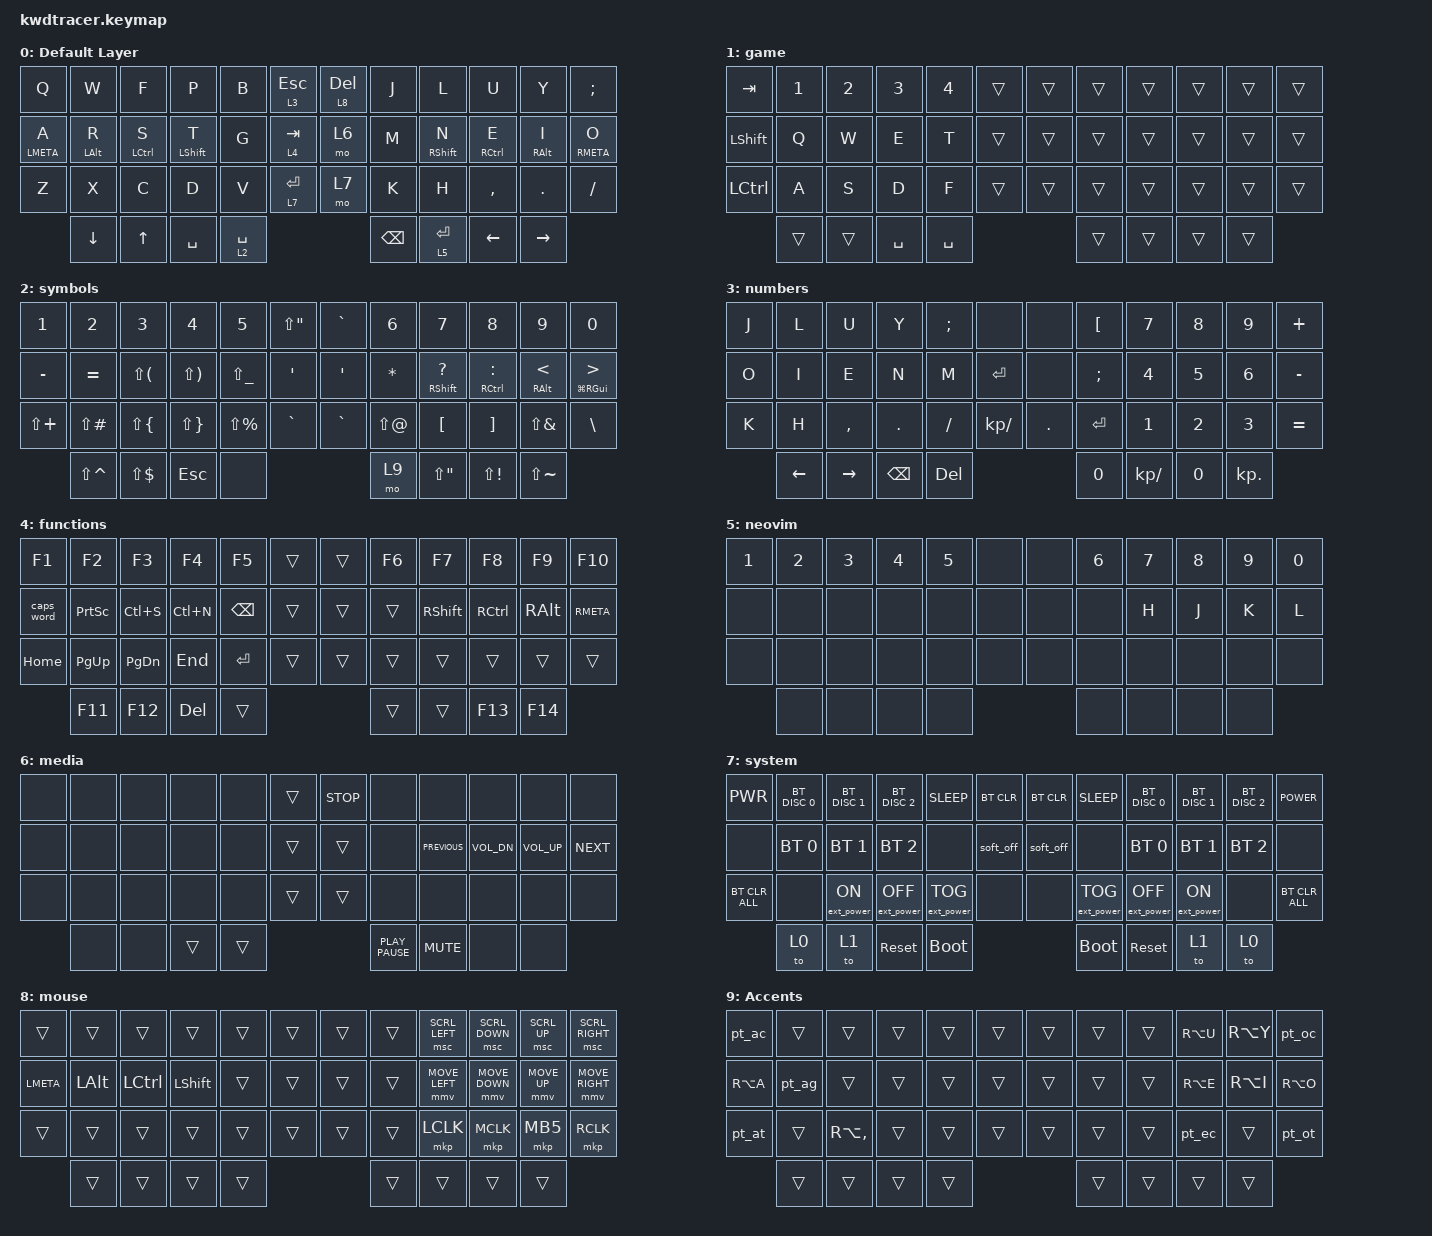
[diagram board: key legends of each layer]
/*
 * Copyright (c) 2020 The ZMK Contributors
 *
 * SPDX-License-Identifier: MIT
 */

#define ZMK_POINTING_DEFAULT_MOVE_VAL 750
#define ZMK_POINTING_DEFAULT_SCRL_VAL 150

#include <behaviors.dtsi>
#include <dt-bindings/zmk/bt.h>
#include <dt-bindings/zmk/ext_power.h>
#include <dt-bindings/zmk/keys.h>
#include <dt-bindings/zmk/pointing.h>

/ {
    behaviors {
        hrm: behavior_hrm {
            compatible = "zmk,behavior-hold-tap";
            label = "HRM";
            #binding-cells = <2>;
            bindings = <&kp &kp>;
            tapping-term-ms = <150>;
            quick-tap-ms = <175>;
            flavor = "balanced";
            require-prior-idle-ms = <70>;
            hold-trigger-on-release;
        };

        /*
         * Uppercase for the dead-key accents only.
         *
         * mod-morph masks its trigger mods by default, so shift both selects the
         * uppercase branch AND is stripped before the prefix goes out. Without
         * that, a leaked shift would turn AltGr+` (dead_grave) into AltGr+shift+`
         * (dead_tilde), and A-grave would silently come out as A-tilde.
         */
        pt_ac: pt_ac { compatible = "zmk,behavior-mod-morph"; #binding-cells = <0>; bindings = <&dk_circ A>, <&dk_circ LS(A)>; mods = <(MOD_LSFT|MOD_RSFT)>; };  // â Â
        pt_ec: pt_ec { compatible = "zmk,behavior-mod-morph"; #binding-cells = <0>; bindings = <&dk_circ E>, <&dk_circ LS(E)>; mods = <(MOD_LSFT|MOD_RSFT)>; };  // ê Ê
        pt_oc: pt_oc { compatible = "zmk,behavior-mod-morph"; #binding-cells = <0>; bindings = <&dk_circ O>, <&dk_circ LS(O)>; mods = <(MOD_LSFT|MOD_RSFT)>; };  // ô Ô
        pt_at: pt_at { compatible = "zmk,behavior-mod-morph"; #binding-cells = <0>; bindings = <&dk_tilde A>, <&dk_tilde LS(A)>; mods = <(MOD_LSFT|MOD_RSFT)>; };  // ã Ã
        pt_ot: pt_ot { compatible = "zmk,behavior-mod-morph"; #binding-cells = <0>; bindings = <&dk_tilde O>, <&dk_tilde LS(O)>; mods = <(MOD_LSFT|MOD_RSFT)>; };  // õ Õ
        pt_ag: pt_ag { compatible = "zmk,behavior-mod-morph"; #binding-cells = <0>; bindings = <&dk_grave A>, <&dk_grave LS(A)>; mods = <(MOD_LSFT|MOD_RSFT)>; };  // à À
    };

    macros {
        /*
         * Dead-key prefixes, for the three accents the layout does NOT map
         * directly. Layout: setxkbmap us -variant altgr-intl
         *
         *   AltGr+6         dead_circumflex
         *   AltGr+`         dead_grave
         *   AltGr+shift+`   dead_tilde
         *
         * The acutes, the trema and the cedilla need none of this: altgr-intl
         * includes us(intl), which puts them straight on AltGr+letter, with the
         * capital sitting on level 4 so shift works by itself. See the layer.
         */
        dk_circ:  dk_circ  { compatible = "zmk,behavior-macro-one-param"; #binding-cells = <1>; wait-ms = <10>; tap-ms = <10>; bindings = <&kp RA(N6)>,        <&macro_param_1to1>, <&kp MACRO_PLACEHOLDER>; };
        dk_grave: dk_grave { compatible = "zmk,behavior-macro-one-param"; #binding-cells = <1>; wait-ms = <10>; tap-ms = <10>; bindings = <&kp RA(GRAVE)>,     <&macro_param_1to1>, <&kp MACRO_PLACEHOLDER>; };
        dk_tilde: dk_tilde { compatible = "zmk,behavior-macro-one-param"; #binding-cells = <1>; wait-ms = <10>; tap-ms = <10>; bindings = <&kp RA(LS(GRAVE))>, <&macro_param_1to1>, <&kp MACRO_PLACEHOLDER>; };
    };

    keymap {
        compatible = "zmk,keymap";

        colemodh {
            display-name = "Default Layer";
            bindings = <
&kp Q         &kp W        &kp F         &kp P         &kp B        &lt 3 ESC    &lt 8 DEL  &kp J          &kp L         &kp U         &kp Y        &kp SEMI
&hrm LMETA A  &hrm LALT R  &hrm LCTRL S  &hrm LSHFT T  &kp G        &lt 4 TAB    &mo 6      &kp M          &hrm RSHFT N  &hrm RCTRL E  &hrm RALT I  &hrm RMETA O
&kp Z         &kp X        &kp C         &kp D         &kp V        &lt 7 ENTER  &mo 7      &kp K          &kp H         &kp COMMA     &kp DOT      &kp SLASH
              &kp DOWN     &kp UP        &kp SPACE     &lt 2 SPACE                          &kp BACKSPACE  &lt 5 ENTER   &kp LEFT      &kp RIGHT
            >;
        };

        game {
            bindings = <
&kp TAB    &kp N1  &kp N2  &kp N3     &kp N4     &trans  &trans  &trans  &trans  &trans  &trans  &trans
&kp LSHFT  &kp Q   &kp W   &kp E      &kp T      &trans  &trans  &trans  &trans  &trans  &trans  &trans
&kp LCTRL  &kp A   &kp S   &kp D      &kp F      &trans  &trans  &trans  &trans  &trans  &trans  &trans
           &trans  &trans  &kp SPACE  &kp SPACE                  &trans  &trans  &trans  &trans
            >;
        };

        symbols {
            bindings = <
&kp N1        &kp N2         &kp N3        &kp N4        &kp N5         &kp LS(DQT)  &kp GRAVE  &kp N6      &kp N7            &kp N8            &kp N9         &kp N0
&kp MINUS     &kp EQUAL      &kp LS(LPAR)  &kp LS(RPAR)  &kp LS(UNDER)  &kp SQT      &kp SQT    &kp STAR    &hrm RSHFT QMARK  &hrm RCTRL COLON  &hrm RALT LT   &hrm LG(RGUI) GT
&kp LS(PLUS)  &kp LS(POUND)  &kp LS(LBRC)  &kp LS(RBRC)  &kp LS(PRCNT)  &kp GRAVE    &kp GRAVE  &kp LS(AT)  &kp LBKT          &kp RBKT          &kp LS(AMPS)   &kp BSLH
              &kp LS(CARET)  &kp LS(DLLR)  &kp ESC       &none                                  &mo 9       &kp LS(DQT)       &kp LS(EXCL)      &kp LS(TILDE)
            >;
        };

        numbers {
            bindings = <
&kp J  &kp L     &kp U      &kp Y     &kp SEMI  &none          &none    &kp LBKT  &kp N7         &kp N8  &kp N9      &kp PLUS
&kp O  &kp I     &kp E      &kp N     &kp M     &kp RET        &none    &kp SEMI  &kp N4         &kp N5  &kp N6      &kp MINUS
&kp K  &kp H     &kp COMMA  &kp DOT   &kp FSLH  &kp KP_DIVIDE  &kp DOT  &kp RET   &kp N1         &kp N2  &kp N3      &kp EQUAL
       &kp LEFT  &kp RIGHT  &kp BSPC  &kp DEL                           &kp N0    &kp KP_DIVIDE  &kp N0  &kp KP_DOT
            >;
        };

        functions {
            bindings = <
&kp F1      &kp F2           &kp F3     &kp F4     &kp F5    &trans  &trans  &kp F6  &kp F7     &kp F8     &kp F9    &kp F10
&caps_word  &kp PRINTSCREEN  &kp LC(S)  &kp LC(N)  &kp BSPC  &trans  &trans  &trans  &kp RSHFT  &kp RCTRL  &kp RALT  &kp RMETA
&kp HOME    &kp PG_UP        &kp PG_DN  &kp END    &kp RET   &trans  &trans  &trans  &trans     &trans     &trans    &trans
            &kp F11          &kp F12    &kp DEL    &trans                    &trans  &trans     &kp F13    &kp F14
            >;
        };

        neovim {
            bindings = <
&kp N1  &kp N2  &kp N3  &kp N4  &kp N5  &none  &none  &kp N6  &kp N7  &kp N8  &kp N9  &kp N0
&none   &none   &none   &none   &none   &none  &none  &none   &kp H   &kp J   &kp K   &kp L
&none   &none   &none   &none   &none   &none  &none  &none   &none   &none   &none   &none
        &none   &none   &none   &none                 &none   &none   &none   &none
            >;
        };

        media {
            bindings = <
&none  &none  &none  &none   &none   &trans  &kp K_STOP  &none             &none           &none         &none            &none
&none  &none  &none  &none   &none   &trans  &trans      &none             &kp K_PREVIOUS  &kp C_VOL_DN  &kp C_VOLUME_UP  &kp K_NEXT
&none  &none  &none  &none   &none   &trans  &trans      &none             &none           &none         &none            &none
       &none  &none  &trans  &trans                      &kp K_PLAY_PAUSE  &kp K_MUTE      &none         &none
            >;
        };

        system {
            bindings = <
&kp K_PWR       &bt BT_DISC 0  &bt BT_DISC 1     &bt BT_DISC 2      &kp K_SLEEP        &bt BT_CLR  &bt BT_CLR  &kp K_SLEEP        &bt BT_DISC 0      &bt BT_DISC 1     &bt BT_DISC 2  &kp K_POWER
&none           &bt BT_SEL 0   &bt BT_SEL 1      &bt BT_SEL 2       &none              &soft_off   &soft_off   &none              &bt BT_SEL 0       &bt BT_SEL 1      &bt BT_SEL 2   &none
&bt BT_CLR_ALL  &none          &ext_power EP_ON  &ext_power EP_OFF  &ext_power EP_TOG  &none       &none       &ext_power EP_TOG  &ext_power EP_OFF  &ext_power EP_ON  &none          &bt BT_CLR_ALL
                &to 0          &to 1             &sys_reset         &bootloader                                &bootloader        &sys_reset         &to 1             &to 0
            >;
        };

        mouse {
            bindings = <
&trans     &trans        &trans     &trans      &trans  &trans  &trans  &trans  &msc SCRL_LEFT  &msc SCRL_DOWN  &msc SCRL_UP  &msc SCRL_RIGHT
&kp LMETA  &kp LEFT_ALT  &kp LCTRL  &kp LSHIFT  &trans  &trans  &trans  &trans  &mmv MOVE_LEFT  &mmv MOVE_DOWN  &mmv MOVE_UP  &mmv MOVE_RIGHT
&trans     &trans        &trans     &trans      &trans  &trans  &trans  &trans  &mkp LCLK       &mkp MCLK       &mkp MB5      &mkp RCLK
           &trans        &trans     &trans      &trans                  &trans  &trans          &trans          &trans
            >;
        };

        accents {
            display-name = "Accents";
            bindings = <
&pt_ac      &trans  &trans  &trans  &trans  &trans  &trans  &trans  &trans  &kp RA(U)  &kp RA(Y)  &pt_oc
&kp RA(A)   &pt_ag  &trans  &trans  &trans  &trans  &trans  &trans  &trans  &kp RA(E)  &kp RA(I)  &kp RA(O)
&pt_at      &trans  &kp RA(COMMA)   &trans  &trans  &trans  &trans  &trans  &trans  &pt_ec  &trans  &pt_ot
        &trans  &trans  &trans  &trans                  &trans  &trans  &trans  &trans
            >;
        };
    };
};

&mmv {
    time-to-max-speed-ms = <150>;
    acceleration-exponent = <1>;
};

&msc {
    time-to-max-speed-ms = <150>;
    acceleration-exponent = <0>;
};
